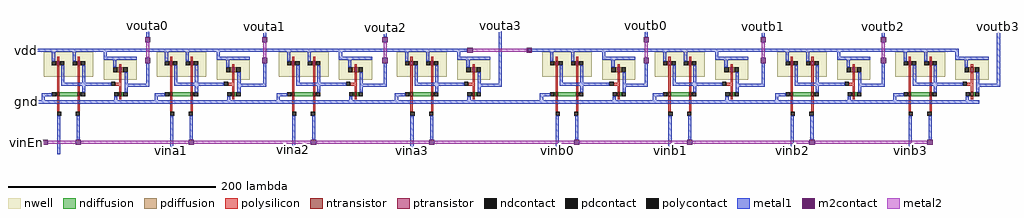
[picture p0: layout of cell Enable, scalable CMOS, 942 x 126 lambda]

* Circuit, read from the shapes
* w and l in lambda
.subckt Enable gnd vdd vinEn vina0 vina1 vina2 vina3 vinb0 vinb1 vinb2 vinb3 vouta0 vouta1 vouta2 vouta3 voutb0 voutb1 voutb2 voutb3
M1 n1 vina0 gnd VSUBS nfet w=4 l=2
M2 AND4Bit_0/AND2IN_0/NOT_0/in vinEn n1 VSUBS nfet w=4 l=2
M3 vouta0 AND4Bit_0/AND2IN_0/NOT_0/in gnd VSUBS nfet w=4 l=2
M4 n2 vina1 gnd VSUBS nfet w=4 l=2
M5 AND4Bit_0/AND2IN_1/NOT_0/in vinEn n2 VSUBS nfet w=4 l=2
M6 vouta1 AND4Bit_0/AND2IN_1/NOT_0/in gnd VSUBS nfet w=4 l=2
M7 n3 vina2 gnd VSUBS nfet w=4 l=2
M8 AND4Bit_0/AND2IN_2/NOT_0/in vinEn n3 VSUBS nfet w=4 l=2
M9 vouta2 AND4Bit_0/AND2IN_2/NOT_0/in gnd VSUBS nfet w=4 l=2
M10 n4 vina3 gnd VSUBS nfet w=4 l=2
M11 AND4Bit_0/AND2IN_3/NOT_0/in vinEn n4 VSUBS nfet w=4 l=2
M12 vouta3 AND4Bit_0/AND2IN_3/NOT_0/in gnd VSUBS nfet w=4 l=2
M13 n5 vinb0 gnd VSUBS nfet w=4 l=2
M14 AND4Bit_1/AND2IN_0/NOT_0/in vinEn n5 VSUBS nfet w=4 l=2
M15 voutb0 AND4Bit_1/AND2IN_0/NOT_0/in gnd VSUBS nfet w=4 l=2
M16 n6 vinb1 gnd VSUBS nfet w=4 l=2
M17 AND4Bit_1/AND2IN_1/NOT_0/in vinEn n6 VSUBS nfet w=4 l=2
M18 voutb1 AND4Bit_1/AND2IN_1/NOT_0/in gnd VSUBS nfet w=4 l=2
M19 n7 vinb2 gnd VSUBS nfet w=4 l=2
M20 AND4Bit_1/AND2IN_2/NOT_0/in vinEn n7 VSUBS nfet w=4 l=2
M21 voutb2 AND4Bit_1/AND2IN_2/NOT_0/in gnd VSUBS nfet w=4 l=2
M22 n8 vinb3 gnd VSUBS nfet w=4 l=2
M23 AND4Bit_1/AND2IN_3/NOT_0/in vinEn n8 VSUBS nfet w=4 l=2
M24 voutb3 AND4Bit_1/AND2IN_3/NOT_0/in gnd VSUBS nfet w=4 l=2
M25 AND4Bit_0/AND2IN_0/NOT_0/in vina0 vdd n9 pfet w=4 l=2
M26 AND4Bit_0/AND2IN_0/NOT_0/in vinEn vdd n9 pfet w=4 l=2
M27 vouta0 AND4Bit_0/AND2IN_0/NOT_0/in vdd n10 pfet w=5 l=2
M28 AND4Bit_0/AND2IN_1/NOT_0/in vina1 vdd n11 pfet w=4 l=2
M29 AND4Bit_0/AND2IN_1/NOT_0/in vinEn vdd n11 pfet w=4 l=2
M30 vouta1 AND4Bit_0/AND2IN_1/NOT_0/in vdd n12 pfet w=5 l=2
M31 AND4Bit_0/AND2IN_2/NOT_0/in vina2 vdd n13 pfet w=4 l=2
M32 AND4Bit_0/AND2IN_2/NOT_0/in vinEn vdd n13 pfet w=4 l=2
M33 vouta2 AND4Bit_0/AND2IN_2/NOT_0/in vdd n14 pfet w=5 l=2
M34 AND4Bit_0/AND2IN_3/NOT_0/in vina3 vdd n15 pfet w=4 l=2
M35 AND4Bit_0/AND2IN_3/NOT_0/in vinEn vdd n15 pfet w=4 l=2
M36 vouta3 AND4Bit_0/AND2IN_3/NOT_0/in vdd n16 pfet w=5 l=2
M37 AND4Bit_1/AND2IN_0/NOT_0/in vinb0 vdd n17 pfet w=4 l=2
M38 AND4Bit_1/AND2IN_0/NOT_0/in vinEn vdd n17 pfet w=4 l=2
M39 voutb0 AND4Bit_1/AND2IN_0/NOT_0/in vdd n18 pfet w=5 l=2
M40 AND4Bit_1/AND2IN_1/NOT_0/in vinb1 vdd n19 pfet w=4 l=2
M41 AND4Bit_1/AND2IN_1/NOT_0/in vinEn vdd n19 pfet w=4 l=2
M42 voutb1 AND4Bit_1/AND2IN_1/NOT_0/in vdd n20 pfet w=5 l=2
M43 AND4Bit_1/AND2IN_2/NOT_0/in vinb2 vdd n21 pfet w=4 l=2
M44 AND4Bit_1/AND2IN_2/NOT_0/in vinEn vdd n21 pfet w=4 l=2
M45 voutb2 AND4Bit_1/AND2IN_2/NOT_0/in vdd n22 pfet w=5 l=2
M46 AND4Bit_1/AND2IN_3/NOT_0/in vinb3 vdd n23 pfet w=4 l=2
M47 AND4Bit_1/AND2IN_3/NOT_0/in vinEn vdd n23 pfet w=4 l=2
M48 voutb3 AND4Bit_1/AND2IN_3/NOT_0/in vdd n24 pfet w=5 l=2
.ends

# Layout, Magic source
magic
tech scmos
<< metal1 >>
rect 113 93 116 103
rect 226 93 229 103
rect 342 93 345 103
rect 453 93 456 103
rect 594 93 597 103
rect 707 93 710 103
rect 823 93 826 103
rect 934 93 937 103
rect -4 76 17 79
rect 374 76 423 79
rect -4 26 17 29
rect 433 26 486 29
rect -5 -13 13 -10
rect 27 -23 30 2
rect 46 -9 49 2
rect 136 -23 139 2
rect 155 -9 158 2
rect 254 -23 257 2
rect 273 -9 276 2
rect 368 -23 371 2
rect 387 -9 390 2
rect 508 -23 511 2
rect 527 -9 530 2
rect 617 -23 620 2
rect 636 -9 639 2
rect 735 -23 738 2
rect 754 -9 757 2
rect 849 -23 852 2
rect 868 -9 871 2
<< m2contact >>
rect 423 75 428 80
rect 480 75 485 80
rect 13 -14 18 -9
rect 45 -14 50 -9
rect 154 -14 159 -9
rect 272 -14 277 -9
rect 386 -14 391 -9
rect 526 -14 531 -9
rect 635 -14 640 -9
rect 753 -14 758 -9
rect 867 -14 872 -9
<< metal2 >>
rect 428 76 480 79
rect 18 -13 45 -10
rect 50 -13 154 -10
rect 159 -13 272 -10
rect 277 -13 386 -10
rect 391 -13 526 -10
rect 531 -13 635 -10
rect 640 -13 753 -10
rect 758 -13 867 -10
use AND4Bit  AND4Bit_1
transform 1 0 493 0 1 6
box -12 -6 444 89
use AND4Bit  AND4Bit_0
transform 1 0 12 0 1 6
box -12 -6 444 89
<< labels >>
rlabel metal1 -3 77 -2 78 3 vdd
rlabel metal1 -3 27 -2 28 3 gnd
rlabel metal1 -3 -12 -2 -11 3 vinEn
rlabel metal1 28 -21 29 -20 1 vina0
rlabel metal1 114 101 115 102 5 vouta0
rlabel metal1 137 -20 138 -19 1 vina1
rlabel metal1 227 100 228 101 5 vouta1
rlabel metal1 255 -19 256 -18 1 vina2
rlabel metal1 343 99 344 100 5 vouta2
rlabel metal1 369 -20 370 -19 1 vina3
rlabel metal1 454 101 455 102 5 vouta3
rlabel metal1 509 -20 510 -19 1 vinb0
rlabel metal1 595 101 596 102 5 voutb0
rlabel metal1 618 -20 619 -19 1 vinb1
rlabel metal1 708 100 709 101 5 voutb1
rlabel metal1 736 -20 737 -19 1 vinb2
rlabel metal1 824 100 825 101 5 voutb2
rlabel metal1 850 -20 851 -19 1 vinb3
rlabel metal1 935 100 936 101 6 voutb3
<< end >>

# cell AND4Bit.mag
magic
tech scmos
<< metal1 >>
rect 101 84 104 89
rect 214 84 217 89
rect 330 84 333 89
rect -12 70 53 73
rect 59 70 114 73
rect 168 70 233 73
rect 287 70 352 73
rect 101 39 104 59
rect 214 39 217 59
rect 330 39 333 59
rect 441 39 444 89
rect 91 36 104 39
rect 204 36 217 39
rect 320 36 333 39
rect 436 36 444 39
rect -12 20 53 23
rect 75 20 140 23
rect 188 20 253 23
rect 301 20 366 23
rect 15 -6 18 2
rect 34 -6 37 2
rect 124 -6 127 2
rect 143 -6 146 2
rect 242 -6 245 2
rect 261 -6 264 2
rect 356 -6 359 2
rect 375 -6 378 2
<< m2contact >>
rect 100 79 105 84
rect 213 79 218 84
rect 329 79 334 84
rect 100 59 105 64
rect 213 59 218 64
rect 329 59 334 64
<< metal2 >>
rect 101 64 104 79
rect 214 64 217 79
rect 330 64 333 79
use AND2IN  AND2IN_0
transform 1 0 2 0 1 15
box -2 -15 94 58
use AND2IN  AND2IN_1
transform 1 0 111 0 1 15
box -2 -15 94 58
use AND2IN  AND2IN_2
transform 1 0 229 0 1 15
box -2 -15 94 58
use AND2IN  AND2IN_3
transform 1 0 343 0 1 15
box -2 -15 94 58
<< labels >>
rlabel metal1 16 -3 17 -2 1 vina0
rlabel metal1 35 -3 36 -2 1 vinb0
rlabel metal1 -10 21 -9 22 3 gnd
rlabel metal1 -10 71 -9 72 3 vdd
rlabel metal1 125 -4 126 -3 1 vina1
rlabel metal1 144 -4 145 -3 1 vinb1
rlabel metal1 243 -3 244 -2 1 vina2
rlabel metal1 262 -3 263 -2 1 vinb2
rlabel metal1 357 -3 358 -2 1 vina3
rlabel metal1 376 -3 377 -2 1 vinb3
rlabel metal1 102 87 103 88 5 vout0
rlabel metal1 215 87 216 88 5 vout1
rlabel metal1 331 86 332 87 5 vout2
rlabel metal1 442 86 443 87 6 vout3
<< end >>

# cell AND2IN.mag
magic
tech scmos
<< metal1 >>
rect 44 55 61 58
rect 58 47 61 55
rect 46 22 63 25
rect 84 21 94 24
rect -2 12 5 15
rect -2 8 1 12
rect -2 5 68 8
rect 13 -15 16 -11
rect 32 -15 35 -11
use NAND2IN  NAND2IN_0
transform 1 0 16 0 1 35
box -16 -46 32 23
use NOT  NOT_0
transform 1 0 65 0 1 31
box -7 -26 25 19
<< labels >>
rlabel metal1 -1 13 0 14 3 gnd
rlabel metal1 59 52 60 53 1 vdd
rlabel metal1 92 22 93 23 7 vout
rlabel metal1 14 -14 15 -13 1 vin1
rlabel metal1 33 -14 34 -13 1 vin2
<< end >>

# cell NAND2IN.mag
magic
tech scmos
<< nwell >>
rect -16 -4 32 20
<< ntransistor >>
rect -3 -23 -1 -19
rect 17 -23 19 -19
<< ptransistor >>
rect -3 7 -1 11
rect 17 7 19 11
<< ndiffusion >>
rect -4 -23 -3 -19
rect -1 -23 17 -19
rect 19 -23 20 -19
<< pdiffusion >>
rect -4 7 -3 11
rect -1 7 0 11
rect 16 7 17 11
rect 19 7 20 11
<< ndcontact >>
rect -8 -23 -4 -19
rect 20 -23 24 -19
<< pdcontact >>
rect -8 7 -4 11
rect 0 7 4 11
rect 12 7 16 11
rect 20 7 24 11
<< polysilicon >>
rect -3 11 -1 15
rect 17 11 19 15
rect -3 -19 -1 7
rect 17 -19 19 7
rect -3 -38 -1 -23
rect 17 -38 19 -23
<< polycontact >>
rect -3 -42 1 -38
rect 15 -42 19 -38
<< metal1 >>
rect -16 20 32 23
rect -8 11 -5 20
rect 12 11 15 20
rect 1 -10 4 7
rect 21 -10 24 7
rect 1 -13 32 -10
rect 21 -19 24 -13
rect -13 -23 -8 -20
rect -3 -46 0 -42
rect 16 -46 19 -42
<< labels >>
rlabel metal1 7 21 8 22 5 vdd
rlabel metal1 28 -12 29 -11 7 vout
rlabel metal1 -12 -22 -11 -21 3 gnd
rlabel metal1 -2 -44 -1 -43 1 vin1
rlabel metal1 17 -44 18 -43 1 vin2
<< end >>

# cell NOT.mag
magic
tech scmos
<< nwell >>
rect -7 -3 25 16
<< ntransistor >>
rect 8 -19 10 -15
<< ptransistor >>
rect 8 4 10 9
<< ndiffusion >>
rect 7 -19 8 -15
rect 10 -19 12 -15
<< pdiffusion >>
rect 6 4 8 9
rect 10 4 12 9
<< ndcontact >>
rect 3 -19 7 -15
rect 12 -19 16 -15
<< pdcontact >>
rect 2 4 6 9
rect 12 4 16 9
<< polysilicon >>
rect 8 9 10 12
rect 8 -6 10 4
rect 4 -9 10 -6
rect 8 -15 10 -9
rect 8 -22 10 -19
<< polycontact >>
rect 0 -9 4 -5
<< metal1 >>
rect -7 16 25 19
rect 2 9 5 16
rect -3 -9 0 -6
rect 13 -7 16 4
rect 13 -10 20 -7
rect 13 -15 16 -10
rect 3 -23 6 -19
rect 2 -26 16 -23
<< labels >>
rlabel metal1 6 17 9 18 5 vdd
rlabel metal1 -3 -8 -2 -7 3 in
rlabel metal1 18 -9 19 -8 1 out
rlabel metal1 9 -25 10 -24 1 gnd
<< end >>
